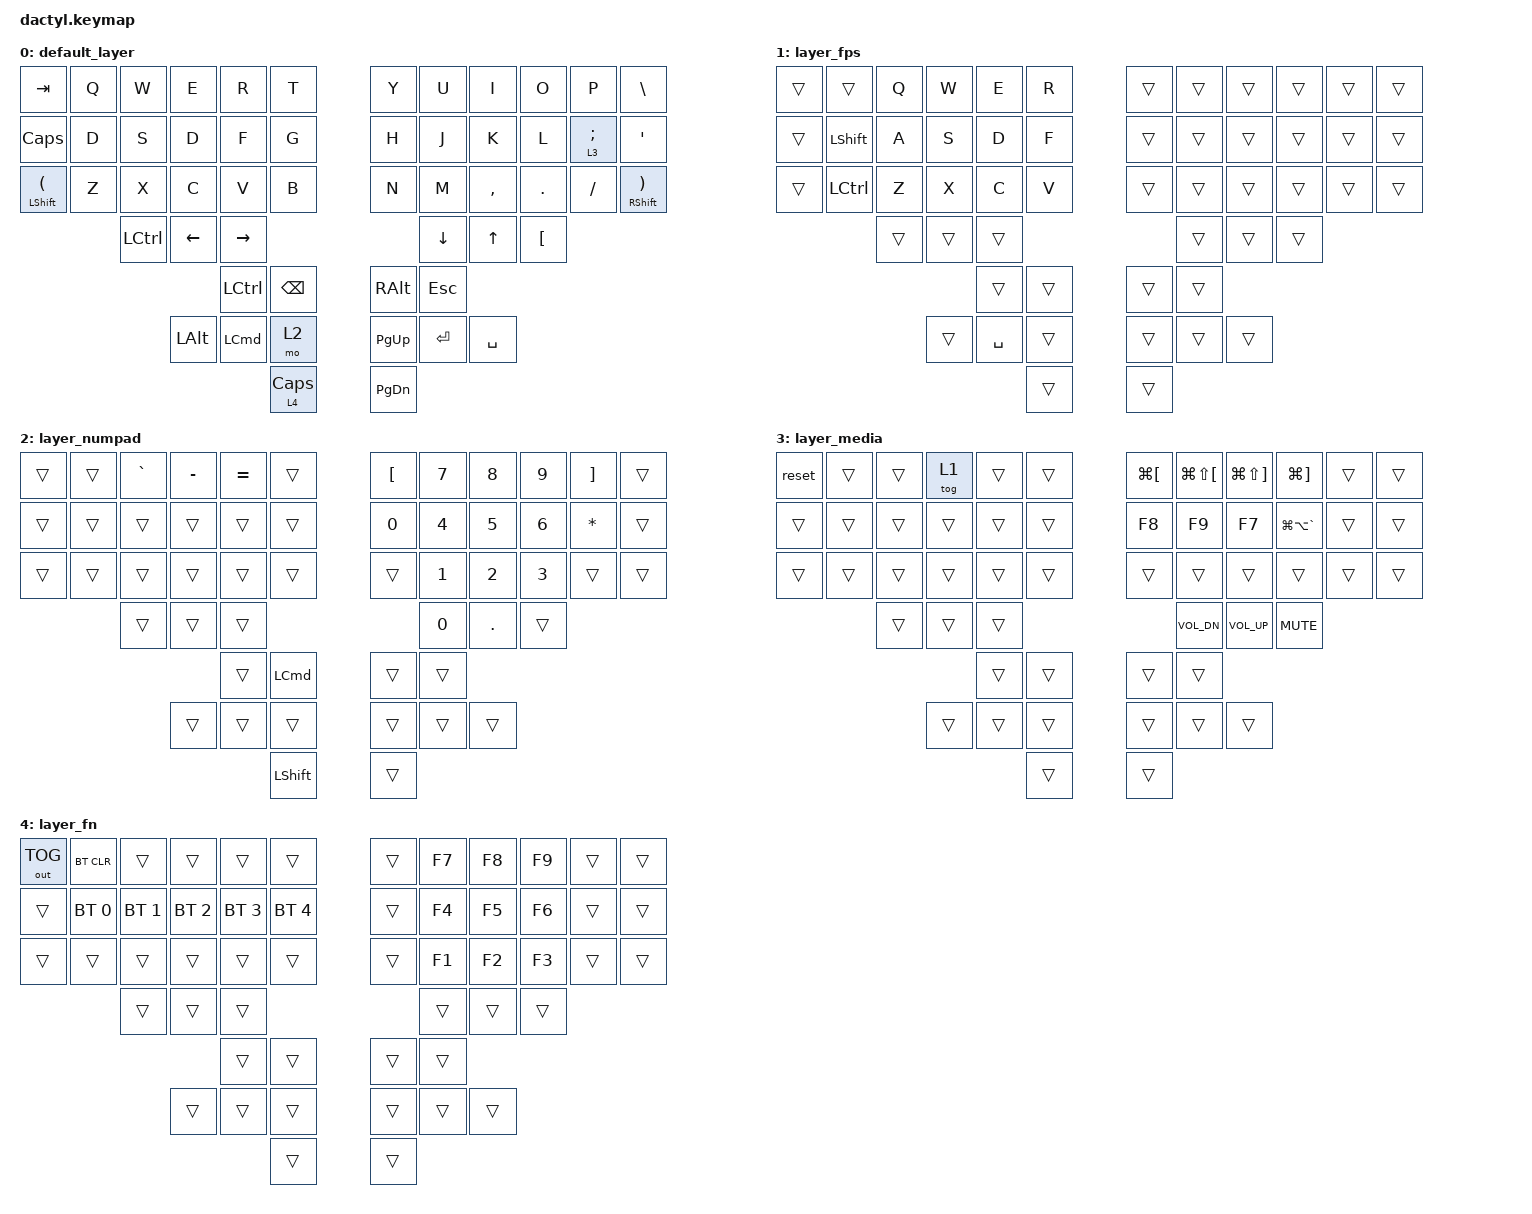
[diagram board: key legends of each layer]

/*
 * Copyright (c) 2020 The ZMK Contributors
 *
 * SPDX-License-Identifier: MIT
 */


/* THIS FILE WAS GENERATED!
 *
 * This file was generated automatically. You may or may not want to
 * edit it directly.
 */

#include <behaviors.dtsi>
#include <dt-bindings/zmk/keys.h>
#include <dt-bindings/zmk/bt.h>
#include <dt-bindings/zmk/outputs.h>

#define BASE 0
#define FPS 1
#define SYMB 2
#define MDIA 3
#define FN 4


/ {
    keymap {
        compatible = "zmk,keymap";


        default_layer {
            bindings = <
        &kp TAB   &kp Q      &kp W     &kp E      &kp R       &kp T                &kp Y     &kp U      &kp I     &kp O       &kp P        &kp BSLH
       &kp CAPS   &kp D      &kp S     &kp D      &kp F       &kp G                &kp H     &kp J      &kp K     &kp L  &lt 3 SEMI        &kp APOS
 &mt LSHFT LPAR   &kp Z      &kp X     &kp C      &kp V       &kp B                &kp N     &kp M  &kp COMMA   &kp DOT    &kp FSLH  &mt RSHFT RPAR
                         &kp LCTRL  &kp LEFT  &kp RIGHT                                   &kp DOWN     &kp UP  &kp LBKT
                                              &kp LCTRL    &kp BSPC             &kp RALT   &kp ESC
                                    &kp LALT   &kp LCMD       &mo 2            &kp PG_UP   &kp RET  &kp SPACE
                                                         &lt 4 CAPS            &kp PG_DN
            >;
        };

        layer_fps {
            bindings = <
 &trans     &trans   &kp Q   &kp W      &kp E   &kp R            &trans  &trans  &trans  &trans  &trans  &trans
 &trans  &kp LSHFT   &kp A   &kp S      &kp D   &kp F            &trans  &trans  &trans  &trans  &trans  &trans
 &trans  &kp LCTRL   &kp Z   &kp X      &kp C   &kp V            &trans  &trans  &trans  &trans  &trans  &trans
                    &trans  &trans     &trans                            &trans  &trans  &trans
                                       &trans  &trans            &trans  &trans
                            &trans  &kp SPACE  &trans            &trans  &trans  &trans
                                               &trans            &trans
            >;
        };

        layer_numpad {
            bindings = <
 &trans  &trans  &kp GRAVE  &kp MINUS  &kp EQUAL     &trans            &kp LBKT  &kp N7   &kp N8  &kp N9      &kp RBKT  &trans
 &trans  &trans     &trans     &trans     &trans     &trans              &kp N0  &kp N4   &kp N5  &kp N6  &kp ASTERISK  &trans
 &trans  &trans     &trans     &trans     &trans     &trans              &trans  &kp N1   &kp N2  &kp N3        &trans  &trans
                    &trans     &trans     &trans                                 &kp N0  &kp DOT  &trans
                                          &trans   &kp LCMD              &trans  &trans
                               &trans     &trans     &trans              &trans  &trans   &trans
                                                  &kp LSHFT              &trans
            >;
        };

        layer_media {
            bindings = <
 &reset  &trans  &trans  &tog 1  &trans  &trans            &kp LG(LBKT)  &kp LG(LS(LBKT))  &kp LG(LS(RBKT))       &kp LG(RBKT)  &trans  &trans
 &trans  &trans  &trans  &trans  &trans  &trans                  &kp F8            &kp F9            &kp F7  &kp LG(LA(GRAVE))  &trans  &trans
 &trans  &trans  &trans  &trans  &trans  &trans                  &trans            &trans            &trans             &trans  &trans  &trans
                 &trans  &trans  &trans                                      &kp C_VOL_DN      &kp C_VOL_UP         &kp K_MUTE
                                 &trans  &trans                  &trans            &trans
                         &trans  &trans  &trans                  &trans            &trans            &trans
                                         &trans                  &trans
            >;
        };

        layer_fn {
            bindings = <
 &out OUT_TOG    &bt BT_CLR        &trans        &trans        &trans        &trans            &trans  &kp F7  &kp F8  &kp F9  &trans  &trans
       &trans  &bt BT_SEL 0  &bt BT_SEL 1  &bt BT_SEL 2  &bt BT_SEL 3  &bt BT_SEL 4            &trans  &kp F4  &kp F5  &kp F6  &trans  &trans
       &trans        &trans        &trans        &trans        &trans        &trans            &trans  &kp F1  &kp F2  &kp F3  &trans  &trans
                                   &trans        &trans        &trans                                  &trans  &trans  &trans
                                                               &trans        &trans            &trans  &trans
                                                 &trans        &trans        &trans            &trans  &trans  &trans
                                                                             &trans            &trans
            >;
        };

    };
};
